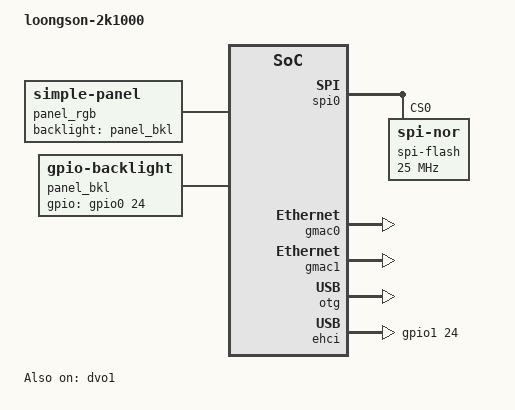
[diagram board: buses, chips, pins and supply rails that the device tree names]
#include "ls2k1000.dtsi"
#include <dt-bindings/gpio/gpio.h>

/ {
	model = "loongson-2k1000";

	chosen {
		stdout-path = "serial0:115200n8";
		bootargs = "earlycon";
	};

	sysinfo-smbios {
		compatible = "u-boot,sysinfo-smbios";
		u-boot,dm-pre-reloc;

		smbios {
			system {
				manufacturer = "Loongson";
				product = "LS2K1000";
			};

			baseboard {
				manufacturer = "Loongson";
				product = "LS2K1000-DP";
			};

			chassis {
				manufacturer = "Loongson";
				product = "LS2K1000-DP";
			};
		};
	};

	memory {
		name = "memory";
		device_type = "memory";
		reg =  <0x90000000 0x00000000 0 0x10000000
			0x90000000 0x90000000 0 0x30000000>;
		u-boot,dm-pre-reloc;
	};

	reserved-memory {
		#address-cells = <2>;
		#size-cells = <2>;
		ranges;

		bootparam: bootparam_region {
			reg = <0x90000000 0x0f000000 0x0 0x1000000>;
			no-map;
		};
	};

	mc0: ram@0 {
		compatible = "loongson,ls2k1000-ddr";
		u-boot,dm-pre-reloc;

		soc-config-reg = <0x1fe00424>;
		mc-disable-offs = <8>;
		mc-default-offs = <9>;

		sdram-type = "ddr3";	// ddr2/ddr3
		dimm-type = "udimm";	// rdimm/udimm/sodimm

		cs-map = <0x1>;		// bit map: 	bit0 -- cs0
					// 		bit1 -- cs1
					//		bit2 -- cs2
					//		bit3 -- cs3

		data-width = <32>;	// 16/32/64
		sdram-width = <16>;	// 8/16
		sdram-banks = <8>;	// 2/4/8
		sdram-rows = <15>;
		sdram-cols = <10>;

		clk-latency = <0x30>;
		rd-latency = <0x9>;
		wr-latency = <0x4>;
		cmd-timing-mode = <1>;	// 0: 1T mode; 1(default): 2T mode; 2: 3T mode.

		// To enable the feature below, uncomment it.
		/* ecc-enable; */
		/* addr-mirror; */
		/* multi-channel; */
		reset-revert;
	};

	panel_rgb: panel-rgb {
		compatible = "simple-panel";
		backlight = <&panel_bkl>;

		display-timings {
			native-mode = <&atk_md0700r>;
			atk_md0700r: 1024x600 {
				clock-frequency = <51200000>;
				hactive = <1024>;
				vactive = <600>;
				hsync-len = <20>;
				hfront-porch = <160>;
				hback-porch = <140>;
				vfront-porch = <12>;
				vback-porch = <20>;
				vsync-len = <3>;
				de-active = <1>;
				hsync-active = <0>;
				vsync-active = <0>;
				pixelclk-active = <0>;
			};
		};
	};

	panel_bkl: backlight {
		compatible = "gpio-backlight";
		pinctrl-0 = <&pinmux_hda_gpio>,
				<&pinmux_i2s_gpio>;
		pinctrl-names = "default";
		gpios = <&gpio0 24 GPIO_ACTIVE_HIGH>;
		// default-on;
	};
};

&ls2k1000_LA_soc {
	usb_config_type = <1>;
};

&spi0 {
	status = "okay";

	spi-flash@0 {
		compatible = "jedec,spi-nor";
		spi-max-frequency = <25000000>; /* input clock */
		reg = <0>; /* CS0 */
	};
};

&gmac0 {
	status = "okay";
};

&gmac1 {
	status = "okay";
};

&dvo1 {
	status = "okay";
	connector-type = "panel";	// panel, vga, hdmi
	connector = <&panel_rgb>;
	pix-fmt = "rgb888";
};

&otg {
	status = "okay";
};

&gpio {
	pinctrl-0 = <&pinmux_sdio_gpio>;
	pinctrl-names = "default";
};

&ehci {
	pinctrl-0 = <&pinmux_nand_gpio>;
	pinctrl-names = "default";
	gpios = <&gpio1 24 GPIO_ACTIVE_HIGH>;
};
